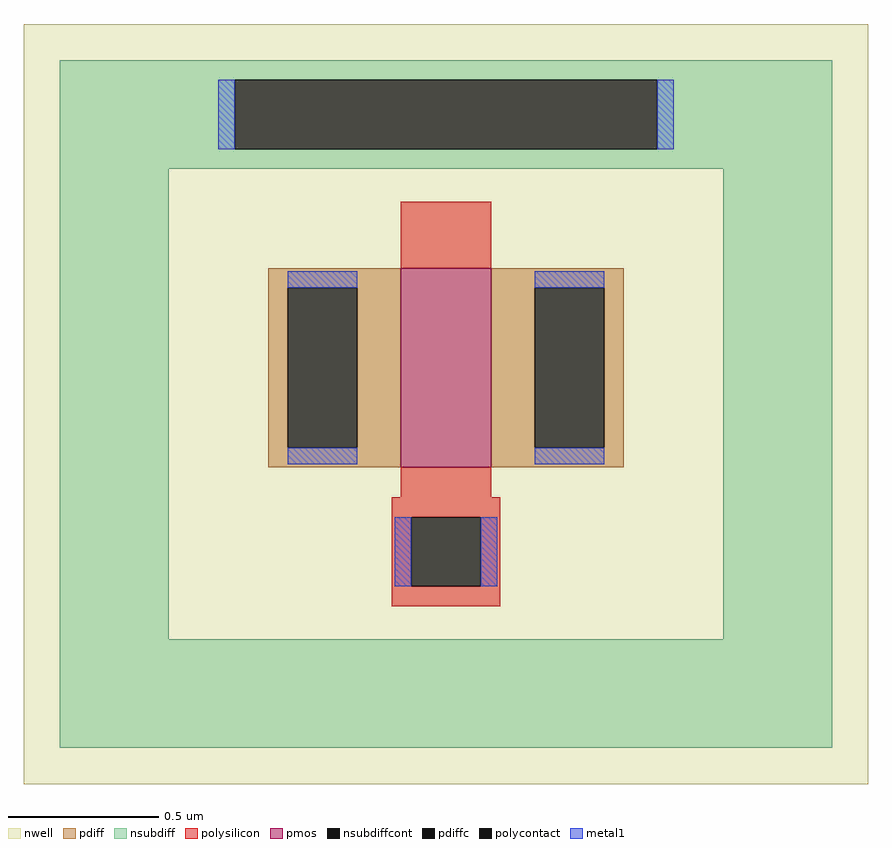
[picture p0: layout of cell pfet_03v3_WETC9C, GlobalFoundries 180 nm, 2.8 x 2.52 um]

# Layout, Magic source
magic
tech gf180mcuD
magscale 1 10
<< nwell >>
rect -280 -252 280 252
<< pmos >>
rect -30 -42 30 90
<< pdiff >>
rect -118 77 -30 90
rect -118 -29 -105 77
rect -59 -29 -30 77
rect -118 -42 -30 -29
rect 30 77 118 90
rect 30 -29 59 77
rect 105 -29 118 77
rect 30 -42 118 -29
<< pdiffc >>
rect -105 -29 -59 77
rect 59 -29 105 77
<< nsubdiff >>
rect -256 215 256 228
rect -256 169 -140 215
rect 140 169 256 215
rect -256 156 256 169
rect -256 -156 -184 156
rect 184 -156 256 156
rect -256 -228 256 -156
<< nsubdiffcont >>
rect -140 169 140 215
<< polysilicon >>
rect -30 90 30 134
rect -30 -62 30 -42
rect -36 -75 36 -62
rect -36 -121 -23 -75
rect 23 -121 36 -75
rect -36 -134 36 -121
<< polycontact >>
rect -23 -121 23 -75
<< metal1 >>
rect -151 169 -140 215
rect 140 169 151 215
rect -105 77 -59 88
rect -105 -40 -59 -29
rect 59 77 105 88
rect 59 -40 105 -29
rect -34 -121 -23 -75
rect 23 -121 34 -75
<< properties >>
string FIXED_BBOX -220 -192 220 192
string gencell pfet_03v3
string library gf180mcu
string parameters w 0.66 l 0.3 m 1 nf 1 diffcov 100 polycov 100 guard 1 glc 0 grc 0 gtc 1 gbc 0 tbcov 100 rlcov 100 topc 0 botc 1 poverlap 0 doverlap 1 lmin 0.28 wmin 0.22 class mosfet full_metal 0 compatible {pfet_03v3 pfet_06v0}
<< end >>
